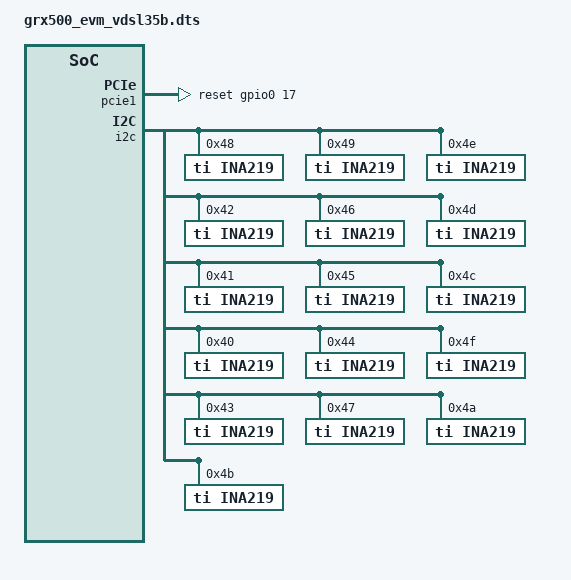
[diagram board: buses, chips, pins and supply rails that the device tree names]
#include "easy550_V1_anywan.dts"

/******************************************************************************
** VRX518 is bound to pcie1 and need inverted reset because of dying gasp
******************************************************************************/ 
&pcie1 {
	reset-gpios = <&gpio0 17 GPIO_ACTIVE_HIGH>; /* High active reset */
};

/******************************************************************************
** DC/DC converter TPS65273 has different I2C address  
******************************************************************************/ 
&dcdc {
	reg = <0x60>;
}; 

&i2c {
	status = "okay";

	ina219@48 {
		compatible = "ti,ina219";
		reg = <0x48>;
		shunt-resistor = <10000>;
		rail-name = "           PWR_12V ";
	};

	ina219@49 {
		compatible = "ti,ina219";
		reg = <0x49>;
		shunt-resistor = <10000>;
		rail-name = "          PCIE_3V3 ";
	};

	ina219@4E {
		compatible = "ti,ina219";
		reg = <0x4E>;
		shunt-resistor = <10000>;
		rail-name = "Power_Module3_P3V3 ";
	};

	ina219@42 {
		compatible = "ti,ina219";
		reg = <0x42>;
		shunt-resistor = <10000>;
		rail-name = "Power_Module3_P5V0 ";
	};

	ina219@46 {
		compatible = "ti,ina219";
		reg = <0x46>;
		shunt-resistor = <10000>;
		rail-name = "Power_Module3_P2V5 ";
	};

	ina219@4D {
		compatible = "ti,ina219";
		reg = <0x4D>;
		shunt-resistor = <10000>;
		rail-name = "Power_Module2_A3V3 ";
	};

	ina219@41 {
		compatible = "ti,ina219";
		reg = <0x41>;
		shunt-resistor = <10000>;
		rail-name = "Power_Module2_1V5  ";
	};

	ina219@45 {
		compatible = "ti,ina219";
		reg = <0x45>;
		shunt-resistor = <10000>;
		rail-name = "Power_Module2_1V15 ";
	};

	ina219@4C {
		compatible = "ti,ina219";
		reg = <0x4C>;
		shunt-resistor = <10000>;
		rail-name = "Power_Module1_3V3  ";
	};

	ina219@40 {
		compatible = "ti,ina219";
		reg = <0x40>;
		shunt-resistor = <10000>;
		rail-name = "Power_Module1_1V1  ";
	};

	ina219@44 {
		compatible = "ti,ina219";
		reg = <0x44>;
		shunt-resistor = <10000>;
		rail-name = "Power_Module1_A1V15";
	};

	ina219@4F {
		compatible = "ti,ina219";
		reg = <0x4F>;
		shunt-resistor = <100000>;
		rail-name = "VRX518_IN_12V      ";
	};

	ina219@43 {
		compatible = "ti,ina219";
		reg = <0x43>;
		shunt-resistor = <47000>;
		rail-name = "VRX518_1V1         ";
	};

	ina219@47 {
		compatible = "ti,ina219";
		reg = <0x47>;
		shunt-resistor = <100000>;
		rail-name = "VRX518_1V5         ";
	};

	ina219@4A {
		compatible = "ti,ina219";
		reg = <0x4A>;
		shunt-resistor = <470000>;
		rail-name = "VRX518_3V3         ";
	};

	ina219@4B {
		compatible = "ti,ina219";
		reg = <0x4B>;
		shunt-resistor = <470000>;
		rail-name = "VRX518_LD_14V      ";
	};

}; 
